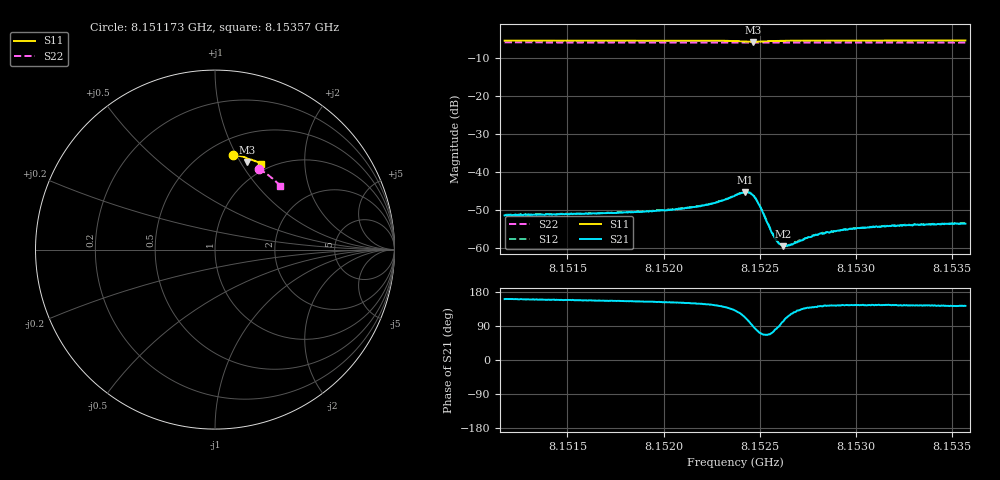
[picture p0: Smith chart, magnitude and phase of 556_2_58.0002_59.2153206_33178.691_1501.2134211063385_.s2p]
#  HZ  S  RI  R  50.00
! Rohde & Schwarz Vector Network Analyzer
! Rohde-Schwarz,ZNB20-2Port,1311601062101988,3.16
! Created: UTC 3/21/2024, 1:15:12 AM
! freq[Hz]  re:S11  im:S11  re:S21  im:S21  re:S12  im:S12  re:S22  im:S22
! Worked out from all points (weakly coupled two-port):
!   401 points, 8.151173 GHz to 8.15357 GHz, reference 50 ohm
!   highest |S21| = -45.29 dB at 8.152426 GHz (marker M1); lowest = -59.5 dB at 8.152624 GHz (marker M2)
!   lowest |S11| = -5.7 dB at 8.152468 GHz (marker M3), VSWR 3.17, Z = 40.1 + j53.6 ohm
!   |S11| at or under -10 dB: nowhere
!   |S22| runs from -5.9 to -5.8 dB; largest |S21 - S12| = 0.00011
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8.1511732e9  0.1022 0.5296  -0.00254 0.000886  -0.00256 0.000924  0.2432 0.4499
8.1515747e9  0.1301 0.5242  -0.00259 0.00109  -0.00259 0.00113  0.2652 0.4367
8.1519763e9  0.1582 0.5167  -0.00278 0.00138  -0.00277 0.00146  0.2869 0.4222
8.1520841e9  0.1662 0.5141  -0.00288 0.00157  -0.00289 0.00164  0.2926 0.4181
8.152222e9  0.1769 0.5098  -0.0031 0.00202  -0.00313 0.00206  0.2996 0.413
8.1523059e9  0.184 0.5053  -0.00327 0.00264  -0.00327 0.0027  0.3039 0.4095
8.1523718e9  0.189 0.4988  -0.0032 0.00373  -0.00315 0.00377  0.3071 0.4066
8.1524257e9  0.188 0.4902  -0.00199 0.00506  -0.00195 0.00509  0.3094 0.4043
8.1524497e9  0.184 0.4876  -0.000751 0.00524  -0.000701 0.00532  0.3105 0.4036
8.1524677e9  0.1802 0.488  0.000168 0.00488  0.000261 0.00492  0.3112 0.4028
8.1524977e9  0.1766 0.4928  0.0011 0.00355  0.00114 0.0036  0.3126 0.4019
8.1525516e9  0.1803 0.5008  0.000711 0.00171  0.000712 0.00175  0.3154 0.4
8.1525756e9  0.1832 0.5023  0.00031 0.00137  0.000335 0.00138  0.3165 0.3992
8.1525876e9  0.1846 0.5028  0.000162 0.00124  0.000212 0.00128  0.3171 0.3987
8.1526055e9  0.1869 0.503  -3.51e-05 0.00113  -3.36e-05 0.00112  0.3182 0.3981
8.1526235e9  0.1887 0.5032  -0.000218 0.00103  -0.000235 0.00105  0.3191 0.3973
8.1526595e9  0.1925 0.5032  -0.000537 0.000952  -0.000538 0.00096  0.3209 0.3957
8.1527733e9  0.2023 0.5012  -0.00108 0.000922  -0.00108 0.000978  0.3264 0.3911
8.1528632e9  0.2093 0.4991  -0.00128 0.000941  -0.00128 0.00101  0.3307 0.3871
8.1529771e9  0.2174 0.4961  -0.00147 0.00102  -0.00143 0.00105  0.3361 0.3824
8.1531749e9  0.2309 0.4906  -0.00161 0.00111  -0.00159 0.00113  0.3452 0.3737
8.1535704e9  0.2559 0.4787  -0.00167 0.00126  -0.00166 0.0013  0.3629 0.3558
